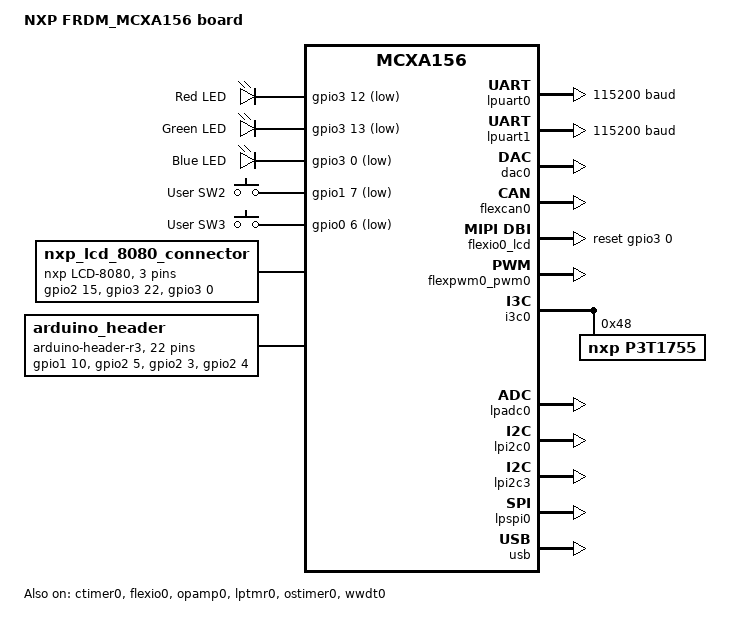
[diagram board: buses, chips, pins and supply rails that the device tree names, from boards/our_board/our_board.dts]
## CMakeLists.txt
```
# SPDX-License-Identifier: Apache-2.0

cmake_minimum_required(VERSION 3.20.0)

list(APPEND DTS_ROOT ${CMAKE_CURRENT_SOURCE_DIR}/drivers/our_driver)
find_package(Zephyr REQUIRED HINTS $ENV{ZEPHYR_BASE})
project(hello_world)

target_sources(app PRIVATE src/main.cpp )
add_subdirectory(drivers/our_driver)
```

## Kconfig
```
menuconfig LED_SUBSYSTEM
    bool "LED Subsystem"
    default y

if LED_SUBSYSTEM

config APP_HEARTBEAT_PERIOD_MS
	int "LED blinking period in ms"
	default 250 if BLINK_SLEEP_250MS
	default 1000 if BLINK_SLEEP_1000S
	default 2000 if BLINK_SLEEP_2000MS
	default 0

	help
	  Set LED blinking Sleep time 0, 250, 1000 ,2000 ms 



endif # LED_SUBSYSTEM 
source "Kconfig.zephyr"
rsource "drivers/our_driver/Kconfig"
```

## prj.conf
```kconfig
CONFIG_GPIO=y
CONFIG_LOG=y
CONFIG_OUR_DRIVER=y
CONFIG_SENSOR=y
CONFIG_SHELL=y
CONFIG_SHELL_BACKEND_SERIAL=y
```

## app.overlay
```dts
/ {
	our_driver0: our_driver {
		compatible = "our,driver";
		led = <&red_led>;
		status = "okay";
	};
};
```

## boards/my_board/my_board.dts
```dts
/dts-v1/;
#include <nxp/mcx/nxp_mcxa156.dtsi>
#include "my_board-pinctrl.dtsi"
/{
	model = "My board";
	compatible = "iomico,my_board";
	aliases {
		led0 = &red_led;
		led1 = &green_led;
		led2 = &blue_led;
	};
	chosen {
		zephyr,sram = &sram0;
		zephyr,flash = &flash;
		zephyr,flash-controller = &fmu;
		zephyr,code-partition = &slot0_partition;
		zephyr,console = &lpuart0;
		zephyr,shell-uart = &lpuart0;
		zephyr,uart-mcumgr = &lpuart0;
	};

	leds {
		compatible = "gpio-leds";

		red_led: led_0 {
			gpios = <&gpio3 12 GPIO_ACTIVE_LOW>;
			label = "Red LED";
		};

		green_led: led_1 {
			gpios = <&gpio3 13 GPIO_ACTIVE_LOW>;
			label = "Green LED";
		};

		blue_led: led_2 {
			gpios = <&gpio3 0 GPIO_ACTIVE_LOW>;
			label = "Blue LED";
		};
	};

};

&cpu0 {
	clock-frequency = <96000000>;
};

&gpio3 {
	status = "okay";
};

&lpuart0 {
	status = "okay";
	current-speed = <115200>;
	pinctrl-0 = <&pinmux_lpuart0>;
	pinctrl-names = "default";
};

&lpuart1 {
	status = "okay";
	current-speed = <115200>;
	pinctrl-0 = <&pinmux_lpuart1>;
	pinctrl-names = "default";
};
zephyr_udc0: &usb {
	status = "okay";
	num-bidir-endpoints = <8>;
};
&flash {
	partitions {
		compatible = "fixed-partitions";
		#address-cells = <1>;
		#size-cells = <1>;

		boot_partition: partition@0 {
			label = "mcuboot";
			reg = <0x00000000 DT_SIZE_K(64)>;
			read-only;
		};

		slot0_partition: partition@10000 {
			label = "image-0";
			reg = <0x00010000 DT_SIZE_K(424)>;
		};

		slot1_partition: partition@7a000 {
			label = "image-1";
			reg = <0x0007a000 DT_SIZE_K(424)>;
		};

		storage_partition: partition@e4000 {
			label = "storage";
			reg = <0x000e4000 DT_SIZE_K(112)>;
		};
	};
};
```

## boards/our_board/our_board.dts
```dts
/*
 * Copyright 2024 NXP
 *
 * SPDX-License-Identifier: Apache-2.0
 */

/dts-v1/;

#include <nxp/mcx/nxp_mcxa156.dtsi>
#include "our_board-pinctrl.dtsi"
#include <zephyr/dt-bindings/gpio/arduino-header-r3.h>
#include <zephyr/dt-bindings/input/input-event-codes.h>
#include <freq.h>

/ {
	model = "NXP FRDM_MCXA156 board";
	compatible = "nxp,mcxa156", "nxp,mcx";

	aliases {
		led0 = &red_led;
		led1 = &green_led;
		led2 = &blue_led;
		sw0 = &user_button_2;
		sw1 = &user_button_3;
		pwm-0 = &flexpwm0_pwm0;
		mcuboot-button0 = &user_button_2;
		watchdog0 = &wwdt0;
		ambient-temp0 = &p3t1755;
		die-temp0 = &temp0;
	};

	chosen {
		zephyr,sram = &sram0;
		zephyr,flash = &flash;
		zephyr,flash-controller = &fmu;
		zephyr,code-partition = &slot0_partition;
		zephyr,console = &lpuart0;
		zephyr,shell-uart = &lpuart0;
		zephyr,uart-mcumgr = &lpuart0;
		zephyr,canbus = &flexcan0;
		zephyr,system-timer-companion = &lptmr0;
	};

	leds {
		compatible = "gpio-leds";

		red_led: led_0 {
			gpios = <&gpio3 12 GPIO_ACTIVE_LOW>;
			label = "Red LED";
		};

		green_led: led_1 {
			gpios = <&gpio3 13 GPIO_ACTIVE_LOW>;
			label = "Green LED";
		};

		blue_led: led_2 {
			gpios = <&gpio3 0 GPIO_ACTIVE_LOW>;
			label = "Blue LED";
		};
	};

	gpio_keys {
		compatible = "gpio-keys";

		user_button_2: button_2 {
			label = "User SW2";
			gpios = <&gpio1 7 GPIO_ACTIVE_LOW>;
			zephyr,code = <INPUT_KEY_0>;
		};

		user_button_3: button_3 {
			label = "User SW3";
			gpios = <&gpio0 6 GPIO_ACTIVE_LOW>;
			zephyr,code = <INPUT_KEY_1>;
		};
	};

	/*
	 * This node describes the GPIO pins of the LCD-PAR-S035 panel 8080 interface.
	 */
	nxp_lcd_8080_connector: lcd-8080-connector {
		compatible = "nxp,lcd-8080";
		#gpio-cells = <2>;
		gpio-map-mask = <0xffffffff 0xffffffc0>;
		gpio-map-pass-thru = <0 0x3f>;
		gpio-map = <9 0 &gpio2 15 0>,	/* Pin 9, LCD touch INT */
			   <10 0 &gpio3 22 0>,	/* Pin 10, LCD backlight control */
			   <11 0 &gpio3 0 0>;	/* Pin 11, LCD and touch reset */
	};

	arduino_header: arduino-connector {
		compatible = "arduino-header-r3";
		#gpio-cells = <2>;
		gpio-map-mask = <0xffffffff 0xffffffc0>;
		gpio-map-pass-thru = <0 0x3f>;
		gpio-map = <ARDUINO_HEADER_R3_A0 0 &gpio1 10 0>,
			   <ARDUINO_HEADER_R3_A1 0 &gpio2 5 0>,
			   <ARDUINO_HEADER_R3_A2 0 &gpio2 3 0>,
			   <ARDUINO_HEADER_R3_A3 0 &gpio2 4 0>,
			   <ARDUINO_HEADER_R3_A4 0 &gpio1 12 0>,
			   <ARDUINO_HEADER_R3_A5 0 &gpio1 13 0>,
			   <ARDUINO_HEADER_R3_D0 0 &gpio2 11 0>,
			   <ARDUINO_HEADER_R3_D1 0 &gpio2 10 0>,
			   <ARDUINO_HEADER_R3_D2 0 &gpio3 1 0>,
			   <ARDUINO_HEADER_R3_D3 0 &gpio3 12 0>,
			   <ARDUINO_HEADER_R3_D4 0 &gpio3 31 0>,
			   <ARDUINO_HEADER_R3_D5 0 &gpio3 14 0>,
			   <ARDUINO_HEADER_R3_D6 0 &gpio3 16 0>,
			   <ARDUINO_HEADER_R3_D7 0 &gpio1 14 0>,
			   <ARDUINO_HEADER_R3_D8 0 &gpio1 15 0>,
			   <ARDUINO_HEADER_R3_D9 0 &gpio3 17 0>,
			   <ARDUINO_HEADER_R3_D10 0 &gpio3 13 0>,
			   <ARDUINO_HEADER_R3_D11 0 &gpio3 15 0>,
			   <ARDUINO_HEADER_R3_D12 0 &gpio2 16 0>,
			   <ARDUINO_HEADER_R3_D13 0 &gpio2 12 0>,
			   <ARDUINO_HEADER_R3_D14 0 &gpio0 16 0>,
			   <ARDUINO_HEADER_R3_D15 0 &gpio0 17 0>;
	};
};

&cpu0 {
	clock-frequency = <96000000>;
};

&gpio0 {
	status = "okay";
};

&gpio1 {
	status = "okay";
};

&gpio2 {
	status = "okay";
};

&gpio3 {
	status = "okay";
};

&gpio4 {
	status = "okay";
};

&lpuart0 {
	status = "okay";
	current-speed = <115200>;
	pinctrl-0 = <&pinmux_lpuart0>;
	pinctrl-names = "default";
};

&lpuart1 {
	status = "okay";
	current-speed = <115200>;
	pinctrl-0 = <&pinmux_lpuart1>;
	pinctrl-names = "default";
};

&ctimer0 {
	status = "okay";
};

&dac0 {
	status = "okay";
	pinctrl-0 = <&pinmux_dac0>;
	pinctrl-names = "default";
};

&edma0 {
	status = "okay";
};

&flexcan0 {
	status = "okay";
	pinctrl-0 = <&pinmux_flexcan0>;
	pinctrl-names = "default";
};

&flexio0 {
	status = "okay";
};

nxp_8080_touch_panel_i2c: &lpi2c2 {
	pinctrl-0 = <&pinmux_lpi2c2>;
	pinctrl-names = "default";
};

zephyr_mipi_dbi_parallel: &flexio0_lcd {
	/* DMA channels 0, muxed to FlexIO TX */
	dmas = <&edma0 0 71>;
	dma-names = "tx";
	shifters-count = <4>;
	timers-count = <1>;
	enwr-pin = <31>;
	rd-pin = <28>;
	data-pin-start = <0>;
	reset-gpios = <&gpio3 0 GPIO_ACTIVE_HIGH>;
	cs-gpios = <&gpio2 19 GPIO_ACTIVE_HIGH>;
	rs-gpios = <&gpio2 17 GPIO_ACTIVE_HIGH>;
	pinctrl-0 = <&pinmux_flexio_lcd>;
	pinctrl-names = "default";
};

&flexpwm0_pwm0 {
	status = "okay";
	pinctrl-0 = <&pinmux_flexpwm0_pwm0>;
	pinctrl-names = "default";
};

&i3c0 {
	status = "okay";
	pinctrl-0 = <&pinmux_i3c0>;
	pinctrl-names = "default";

	i2c-scl-hz = <DT_FREQ_K(400)>;
	i3c-scl-hz = <DT_FREQ_M(4)>;
	i3c-od-scl-hz = <DT_FREQ_K(1500)>;

	p3t1755: p3t1755@4800000236152a0090 {
		compatible = "nxp,p3t1755";
		reg = <0x48 0x0236 0x152a0090>;
		status = "okay";
	};
};

&lpadc0 {
	status = "okay";
	pinctrl-0 = <&pinmux_lpadc0>;
	pinctrl-names = "default";
};

&opamp0 {
	status = "okay";
	pinctrl-0 = <&pinmux_opamp0>;
	pinctrl-names = "default";
};

&lpi2c0 {
	status = "okay";
	pinctrl-0 = <&pinmux_lpi2c0>;
	pinctrl-names = "default";
};

&lpi2c3 {
	status = "okay";
	pinctrl-0 = <&pinmux_lpi2c3>;
	pinctrl-names = "default";
};

&lpspi0 {
	status = "okay";
	pinctrl-0 = <&pinmux_lpspi0>;
	pinctrl-names = "default";
};

&lptmr0 {
	status = "okay";
};

/*
 * Uses OS timer as the kernel timer
 */
&ostimer0 {
	status = "okay";
};

zephyr_udc0: &usb {
	status = "okay";
	num-bidir-endpoints = <8>;
};

&wwdt0 {
	status = "okay";
};

&flash {
	partitions {
		compatible = "fixed-partitions";
		#address-cells = <1>;
		#size-cells = <1>;

		boot_partition: partition@0 {
			label = "mcuboot";
			reg = <0x00000000 DT_SIZE_K(64)>;
			read-only;
		};

		slot0_partition: partition@10000 {
			label = "image-0";
			reg = <0x00010000 DT_SIZE_K(424)>;
		};

		slot1_partition: partition@7a000 {
			label = "image-1";
			reg = <0x0007a000 DT_SIZE_K(424)>;
		};

		storage_partition: partition@e4000 {
			label = "storage";
			reg = <0x000e4000 DT_SIZE_K(112)>;
		};
	};
};
```

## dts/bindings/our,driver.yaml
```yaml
description: Our Simple GPIO driver
compatible: "our,driver"
include: base.yaml
properties:
  led:
    type: phandle
    required: true
    description:  LED node
```

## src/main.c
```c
#include <zephyr/drivers/gpio.h> 
#include <zephyr/kernel.h> 
#include <zephyr/logging/log.h> 

#define LED_NODE DT_ALIAS(app_led)


static const struct gpio_dt_spec led = GPIO_DT_SPEC_GET(LED_NODE, gpios);

LOG_MODULE_REGISTER(main, LOG_LEVEL_INF);

int main(void){
	bool led_state = true;

	if (!gpio_is_ready_dt(&led)) return 0;

	if (gpio_pin_configure_dt(&led, GPIO_OUTPUT_ACTIVE) < 0 ) return 0;
	while(1){
		if(gpio_pin_toggle_dt(&led) < 0) return 0;

		led_state = !led_state;
		LOG_INF("LED state: %s", led_state ? "ON" : "OFF");

		k_msleep(CONFIG_APP_HEARTBEAT_PERIOD_MS);
	}
	return 0;
}
```

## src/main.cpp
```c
#include <zephyr/drivers/gpio.h>
#include <zephyr/drivers/sensor.h>
#include <zephyr/kernel.h>
#include <zephyr/logging/log.h>

#define SLEEP_TIME_MS 1000

/* The devicetree node identifier for the "led0" alias. */
#define LED_NODE DT_ALIAS(led0)

static const struct gpio_dt_spec led = GPIO_DT_SPEC_GET(LED_NODE, gpios);

LOG_MODULE_REGISTER(main, LOG_LEVEL_INF);

namespace{
    void test(){
        const struct device *dev = DEVICE_DT_GET(DT_NODELABEL(our_driver0));
        struct sensor_value val;
        auto ret = sensor_channel_get(dev, SENSOR_CHAN_PROX, &val);
        LOG_INF("sensor_channel_get returned %d", ret);
    }
}

int main(void)
{
    const struct device *dev = DEVICE_DT_GET(DT_NODELABEL(our_driver0));
    struct sensor_value val;
    test();
    bool led_state = true;

    if (!gpio_is_ready_dt(&led)) return 0;

    if (gpio_pin_configure_dt(&led, GPIO_OUTPUT_ACTIVE) < 0) return 0;

    while (1) {
        if (gpio_pin_toggle_dt(&led) < 0) return 0;
        sensor_channel_get(dev, SENSOR_CHAN_PROX, &val);
        k_msleep(SLEEP_TIME_MS);
        sensor_sample_fetch(dev);
        k_msleep(SLEEP_TIME_MS);

    }
    return 0;
}
```
